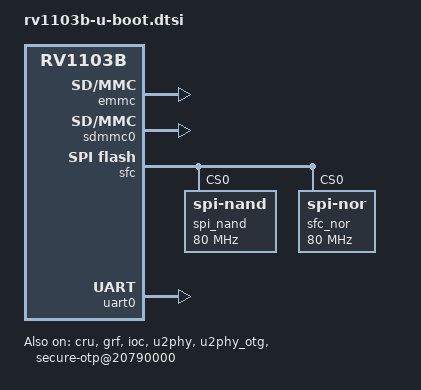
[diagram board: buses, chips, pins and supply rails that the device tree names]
/*
 * (C) Copyright 2024 Rockchip Electronics Co., Ltd
 *
 * SPDX-License-Identifier:     GPL-2.0+
 */

#include "rockchip-u-boot.dtsi"

 / {
	aliases {
		mmc1 = &sdmmc0;
		mmc0 = &emmc;
	};

	chosen {
		stdout-path = &uart0;
		u-boot,spl-boot-order = &sdmmc0, &spi_nand, &spi_nor, &emmc;
	};

	secure-otp@20790000 {
		compatible = "rockchip,rv1103b-secure-otp";
		reg = <0x20790000 0x10000>;
		secure_conf = <0x20250018>;
		cru_rst_addr = <0x20000a20>;
		mask_addr = <0x209d0000>;
		bootph-all;
		status = "okay";
	};
};

&emmc {
	bootph-some-ram;
	status = "okay";
};

&cru {
	bootph-all;
	status = "okay";
};

&grf {
	bootph-all;
	status = "okay";
};

&pinctrl {
	bootph-all;
	status = "okay";
};

&sdmmc0 {
	bootph-some-ram;
	status = "okay";
};

&ioc {
	bootph-all;
	status = "okay";
};

&gpio0 {
	bootph-pre-ram;
	status = "okay";
};

&gpio1 {
	bootph-pre-ram;
	status = "okay";
};

&gpio2 {
	bootph-pre-ram;
	status = "okay";
};

&sfc {
	bootph-all;
	status = "okay";

	#address-cells = <1>;
	#size-cells = <0>;
	spi_nand: flash@0 {
		bootph-all;
		compatible = "spi-nand";
		reg = <0>;
		spi-tx-bus-width = <1>;
		spi-rx-bus-width = <4>;
		spi-max-frequency = <80000000>;
	};

	spi_nor: flash@1 {
		bootph-all;
		compatible = "jedec,spi-nor";
		label = "sfc_nor";
		reg = <0>;
		spi-tx-bus-width = <1>;
		spi-rx-bus-width = <4>;
		spi-max-frequency = <80000000>;
	};
};

&uart0 {
	bootph-pre-ram;
	status = "okay";
};

&u2phy {
	bootph-pre-ram;
	status = "okay";
};

&u2phy_otg {
	bootph-pre-ram;
	status = "okay";
};
